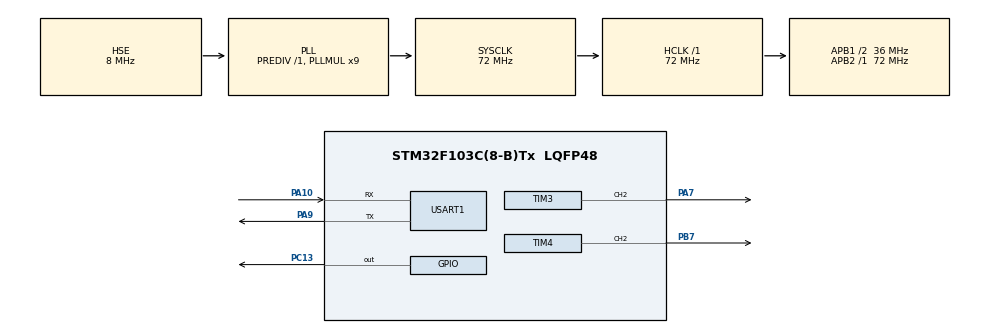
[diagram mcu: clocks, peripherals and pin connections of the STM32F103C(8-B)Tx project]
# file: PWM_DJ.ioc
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Dma.Request0=USART1_RX
Dma.Request1=USART1_TX
Dma.USART1_RX.0.Direction=DMA_PERIPH_TO_MEMORY
Dma.USART1_RX.0.Instance=DMA1_Channel5
Dma.USART1_RX.0.MemDataAlignment=DMA_MDATAALIGN_BYTE
Dma.USART1_RX.0.MemInc=DMA_MINC_ENABLE
Dma.USART1_RX.0.Mode=DMA_NORMAL
Dma.USART1_RX.0.PeriphDataAlignment=DMA_PDATAALIGN_BYTE
Dma.USART1_RX.0.PeriphInc=DMA_PINC_DISABLE
Dma.USART1_RX.0.Priority=DMA_PRIORITY_LOW
Dma.USART1_TX.1.Direction=DMA_MEMORY_TO_PERIPH
Dma.USART1_TX.1.Instance=DMA1_Channel4
Dma.USART1_TX.1.MemDataAlignment=DMA_MDATAALIGN_BYTE
Dma.USART1_TX.1.MemInc=DMA_MINC_ENABLE
Dma.USART1_TX.1.Mode=DMA_NORMAL
Dma.USART1_TX.1.PeriphDataAlignment=DMA_PDATAALIGN_BYTE
Dma.USART1_TX.1.PeriphInc=DMA_PINC_DISABLE
Dma.USART1_TX.1.Priority=DMA_PRIORITY_LOW
Mcu.Family=STM32F1
Mcu.Name=STM32F103C(8-B)Tx
Mcu.Package=LQFP48
NVIC.DMA1_Channel4_IRQn=true\:0\:0\:false\:false\:true\:false\:true\:true
NVIC.DMA1_Channel5_IRQn=true\:0\:0\:false\:false\:true\:false\:true\:true
NVIC.PriorityGroup=NVIC_PRIORITYGROUP_4
NVIC.USART1_IRQn=true\:0\:0\:false\:false\:true\:true\:true\:true
PA10.Mode=Asynchronous
PA10.Signal=USART1_RX
PA13.Mode=Serial_Wire
PA13.Signal=SYS_JTMS-SWDIO
PA14.Mode=Serial_Wire
PA14.Signal=SYS_JTCK-SWCLK
PA7.Signal=S_TIM3_CH2
PA9.Mode=Asynchronous
PA9.Signal=USART1_TX
PB7.Signal=S_TIM4_CH2
PC13-TAMPER-RTC.PinState=GPIO_PIN_RESET
PC13-TAMPER-RTC.Signal=GPIO_Output
PD0-OSC_IN.Mode=HSE-External-Oscillator
PD0-OSC_IN.Signal=RCC_OSC_IN
PD1-OSC_OUT.Mode=HSE-External-Oscillator
PD1-OSC_OUT.Signal=RCC_OSC_OUT
ProjectManager.HeapSize=0x200
ProjectManager.StackSize=0x400
ProjectManager.TargetToolchain=CMake
RCC.AHBFreq_Value=72000000
RCC.APB1CLKDivider=RCC_HCLK_DIV2
RCC.APB1Freq_Value=36000000
RCC.APB1TimFreq_Value=72000000
RCC.APB2Freq_Value=72000000
RCC.APB2TimFreq_Value=72000000
RCC.HCLKFreq_Value=72000000
RCC.PLLMUL=RCC_PLL_MUL9
RCC.PLLSourceVirtual=RCC_PLLSOURCE_HSE
RCC.SYSCLKFreq_VALUE=72000000
RCC.SYSCLKSource=RCC_SYSCLKSOURCE_PLLCLK
RCC.USBFreq_Value=72000000
SH.S_TIM3_CH2.0=TIM3_CH2,PWM Generation2 CH2
SH.S_TIM4_CH2.0=TIM4_CH2,PWM Generation2 CH2
TIM3.Channel-PWM\ Generation2\ CH2=TIM_CHANNEL_2
TIM3.Period=2000-1
TIM3.Prescaler=720-1
TIM4.Channel-PWM\ Generation2\ CH2=TIM_CHANNEL_2
TIM4.Period=2000-1
TIM4.Prescaler=720-1
USART1.VirtualMode=VM_ASYNC
VP_TIM3_VS_ClockSourceINT.Mode=Internal
VP_TIM4_VS_ClockSourceINT.Mode=Internal
board=custom

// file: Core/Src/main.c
/* USER CODE BEGIN Header */
/**
  ******************************************************************************
  * @file           : main.c
  * @brief          : Main program body
  ******************************************************************************
  * @attention
  *
  * Copyright (c) 2026 STMicroelectronics.
  * All rights reserved.
  *
  * This software is licensed under terms that can be found in the LICENSE file
  * in the root directory of this software component.
  * If no LICENSE file comes with this software, it is provided AS-IS.
  *
  ******************************************************************************
  */
/* USER CODE END Header */
#include "main.h"
#include "dma.h"
#include "tim.h"
#include "usart.h"
#include "gpio.h"

/* USER CODE BEGIN Includes */
#include <string.h>
/* USER CODE END Includes */

/* USER CODE BEGIN PD */
#define max 16
/* USER CODE END PD */

/* USER CODE BEGIN PV */
uint8_t move [max];
uint8_t move_shadow[max];
uint8_t flag=0;
uint16_t len=0;
uint8_t Start=0;
static const int step=3;
int yaw=150;
int pitch=150;
/* USER CODE END PV */

void SystemClock_Config(void);

/* USER CODE BEGIN 0 */
void HAL_UARTEx_RxEventCallback(UART_HandleTypeDef *huart, uint16_t Size)
{
  if (huart==&huart1)
  {
    if (flag==0)
    {
      memcpy(move_shadow,move,Size);
      flag=1;
      len=Size;
    }
    HAL_UARTEx_ReceiveToIdle_DMA(&huart1,move,max);
  }
}
/* USER CODE END 0 */

int main(void)
{

  /* MCU Configuration--------------------------------------------------------*/

  /* Reset of all peripherals, Initializes the Flash interface and the Systick. */
  HAL_Init();

  /* Configure the system clock */
  SystemClock_Config();

  /* Initialize all configured peripherals */
  MX_GPIO_Init();
  MX_DMA_Init();
  MX_TIM3_Init();
  MX_TIM4_Init();
  MX_USART1_UART_Init();
  /* USER CODE BEGIN 2 */
  HAL_UARTEx_ReceiveToIdle_DMA(&huart1,move,max);

  HAL_TIM_PWM_Start(&htim3, TIM_CHANNEL_2);
  HAL_TIM_PWM_Start(&htim4, TIM_CHANNEL_2);

  __HAL_TIM_SET_COMPARE(&htim3, TIM_CHANNEL_2, yaw);
  __HAL_TIM_SET_COMPARE(&htim4, TIM_CHANNEL_2, pitch);
  /* USER CODE END 2 */

  /* Infinite loop */
  /* USER CODE BEGIN WHILE */
  while (1)
  {
    if (flag==1)
    {
      flag=0;
      Start=1;
      for (uint16_t i=0;i<len;i++)
      {
        switch (move_shadow[i])
        {
        case 'w':     yaw-=step; break;
        case 's':     yaw+=step; break;
        case 'd':     pitch-=step; break;
        case 'a':     pitch+=step; break;
        default: break;
        }
      }
     if (Start==1)
     {
       if (yaw>250) yaw=250;
       if (pitch>250) pitch=250;
       if (pitch<50) pitch=50;
       if (yaw<50) yaw=50;
       __HAL_TIM_SET_COMPARE(&htim3, TIM_CHANNEL_2, yaw);
       __HAL_TIM_SET_COMPARE(&htim4, TIM_CHANNEL_2, pitch);
     }
    }

    /* USER CODE END WHILE */

  }
}

void SystemClock_Config(void)
{
  RCC_OscInitTypeDef RCC_OscInitStruct = {0};
  RCC_ClkInitTypeDef RCC_ClkInitStruct = {0};

  /** Initializes the RCC Oscillators according to the specified parameters
  * in the RCC_OscInitTypeDef structure.
  */
  RCC_OscInitStruct.OscillatorType = RCC_OSCILLATORTYPE_HSE;
  RCC_OscInitStruct.HSEState = RCC_HSE_ON;
  RCC_OscInitStruct.HSEPredivValue = RCC_HSE_PREDIV_DIV1;
  RCC_OscInitStruct.HSIState = RCC_HSI_ON;
  RCC_OscInitStruct.PLL.PLLState = RCC_PLL_ON;
  RCC_OscInitStruct.PLL.PLLSource = RCC_PLLSOURCE_HSE;
  RCC_OscInitStruct.PLL.PLLMUL = RCC_PLL_MUL9;
  if (HAL_RCC_OscConfig(&RCC_OscInitStruct) != HAL_OK)
  {
    Error_Handler();
  }

  /** Initializes the CPU, AHB and APB buses clocks
  */
  RCC_ClkInitStruct.ClockType = RCC_CLOCKTYPE_HCLK|RCC_CLOCKTYPE_SYSCLK
                              |RCC_CLOCKTYPE_PCLK1|RCC_CLOCKTYPE_PCLK2;
  RCC_ClkInitStruct.SYSCLKSource = RCC_SYSCLKSOURCE_PLLCLK;
  RCC_ClkInitStruct.AHBCLKDivider = RCC_SYSCLK_DIV1;
  RCC_ClkInitStruct.APB1CLKDivider = RCC_HCLK_DIV2;
  RCC_ClkInitStruct.APB2CLKDivider = RCC_HCLK_DIV1;

  if (HAL_RCC_ClockConfig(&RCC_ClkInitStruct, FLASH_LATENCY_2) != HAL_OK)
  {
    Error_Handler();
  }
}

void Error_Handler(void)
{
  __disable_irq();
  while (1)
  {
  }
}
